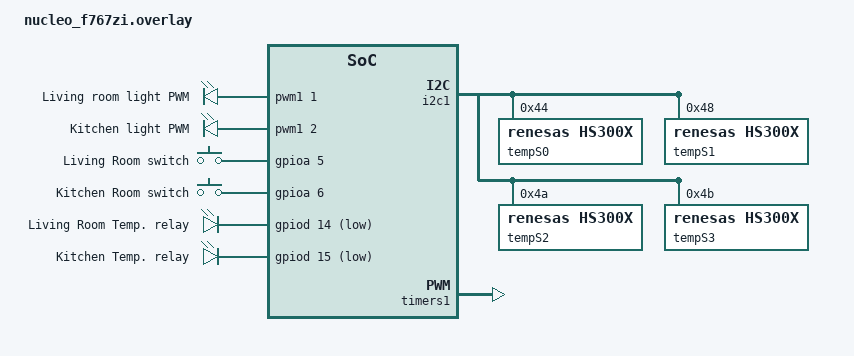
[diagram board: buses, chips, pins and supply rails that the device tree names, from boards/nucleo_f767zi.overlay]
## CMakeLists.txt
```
cmake_minimum_required(VERSION 3.20.0)
find_package(Zephyr REQUIRED HINTS $ENV{ZEPHYR_BASE})
project(WebSmartHome)

target_sources(app PRIVATE
    src/main.c
    src/Room.c
    src/Web.c
)

zephyr_linker_sources(SECTIONS sections-rom.ld)
zephyr_linker_section(
    NAME http_resource_desc_test_http_service
    KVMA RAM_REGION GROUP RODATA_REGION
)

# Define where the generated files will go
set(gen_dir ${ZEPHYR_BINARY_DIR}/include/generated/)

# Generate the gzipped header file
generate_inc_file_for_target(app
    src/static_web_resources/index.html
    ${gen_dir}/index.html.gz.inc
    --gzip
)

# Tell the compiler where to find the generated file
target_include_directories(app PRIVATE
    ${CMAKE_CURRENT_SOURCE_DIR}/include
    ${gen_dir}
)
```

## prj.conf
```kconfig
CONFIG_GPIO=y
CONFIG_PWM=y
CONFIG_PWM_STM32=y
CONFIG_PRINTK=y
CONFIG_HEAP_MEM_POOL_SIZE=4096
CONFIG_LED=y
CONFIG_SENSOR_ASYNC_API=y
CONFIG_SENSOR=y

CONFIG_SYS_HEAP_RUNTIME_STATS=y


CONFIG_MAIN_STACK_SIZE=3072
CONFIG_SYSTEM_WORKQUEUE_STACK_SIZE=2048
CONFIG_SHELL=y
CONFIG_LOG=y
CONFIG_ENTROPY_GENERATOR=y
CONFIG_TEST_RANDOM_GENERATOR=y
CONFIG_INIT_STACKS=y
CONFIG_POSIX_API=y
CONFIG_ZVFS_POLL_MAX=32

# Eventfd
CONFIG_EVENTFD=y
CONFIG_DHT=y

# Networking config
CONFIG_NETWORKING=y
CONFIG_NET_IPV4=y
CONFIG_NET_IPV6=y
CONFIG_NET_TCP=y
CONFIG_NET_SOCKETS=y
CONFIG_NET_CONNECTION_MANAGER=y
CONFIG_NET_SHELL=y
CONFIG_NET_STATISTICS=y
CONFIG_NET_STATISTICS_USER_API=y
CONFIG_NET_LOG=y

# JSON
CONFIG_JSON_LIBRARY=y

# HTTP parser
CONFIG_HTTP_PARSER_URL=y
CONFIG_HTTP_PARSER=y
CONFIG_HTTP_SERVER=y
CONFIG_HTTP_SERVER_WEBSOCKET=y

# Network buffers
CONFIG_NET_PKT_RX_COUNT=16
CONFIG_NET_PKT_TX_COUNT=16
CONFIG_NET_BUF_RX_COUNT=128
CONFIG_NET_BUF_TX_COUNT=128
CONFIG_NET_CONTEXT_NET_PKT_POOL=y

# IP address options
CONFIG_NET_IF_UNICAST_IPV6_ADDR_COUNT=3
CONFIG_NET_IF_MCAST_IPV6_ADDR_COUNT=4
CONFIG_NET_MAX_CONTEXTS=32
CONFIG_NET_MAX_CONN=32
CONFIG_HTTP_SERVER_MAX_CLIENTS=4
CONFIG_WEBSOCKET_MAX_CONTEXTS=4

# Network address config
CONFIG_NET_CONFIG_SETTINGS=y
CONFIG_NET_CONFIG_NEED_IPV4=y
CONFIG_NET_CONFIG_NEED_IPV6=y
CONFIG_NET_CONFIG_MY_IPV4_ADDR="192.168.1.50"
CONFIG_NET_CONFIG_PEER_IPV4_ADDR="192.168.1.50"
CONFIG_NET_CONFIG_MY_IPV4_GW="192.168.1.1"
CONFIG_NET_CONFIG_MY_IPV6_ADDR="2001:db8::1"
CONFIG_NET_CONFIG_PEER_IPV6_ADDR="2001:db8::2"

# Networking tweaks
# Required to handle large number of consecutive connections,
# e.g. when testing with ApacheBench.
CONFIG_NET_TCP_TIME_WAIT_DELAY=0

# Network debug config
CONFIG_NET_SOCKETS_LOG_LEVEL_DBG=n
CONFIG_NET_HTTP_LOG_LEVEL_DBG=n
CONFIG_NET_IPV6_LOG_LEVEL_DBG=n
CONFIG_NET_IPV6_ND_LOG_LEVEL_DBG=n

CONFIG_RTC=y
CONFIG_SNTP=y
CONFIG_REBOOT=y
```

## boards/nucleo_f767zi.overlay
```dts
/ {
    aliases {
        // OUTPUTS
        pwmlivingroom = &pwm_0;
        pwmkitchen = &pwm_1;
        temprelaylivingroom = &temp_relay_livingroom;
        temprelaykitchen = &temp_relay_kitchen;

        // INPUTS
        switchlivingroom = &switch_livingroom;
        switchkitchen = &switch_kitchen;

        dht0 = &tempS0;
        dht1 = &tempS1;
        dht2 = &tempS2;
        dht3 = &tempS3;

        dht11 = &my_dht11;
    };

    temp_sensor {
        my_dht11: dht11_c {
            compatible = "aosong,dht";
            status = "okay";
            dio-gpios = <&gpiof 13 (GPIO_PULL_UP | GPIO_ACTIVE_LOW)>;
        };
    };

    pwmleds {
        compatible = "pwm-leds";
        pwm_0: pwm_0 {
            pwms = <&pwm1 1 PWM_MSEC(20) PWM_POLARITY_NORMAL>;
            label = "Living room light PWM";
        };
        pwm_1: pwm_1 {
            pwms = <&pwm1 2 PWM_MSEC(20) PWM_POLARITY_NORMAL>;
            label = "Kitchen light PWM";
        };
    };

    buttons {
        compatible = "gpio-keys";
        switch_livingroom: btn_livingroom {
            label = "Living Room switch";
            gpios = <&gpioa 5 GPIO_ACTIVE_HIGH>;
        };
        switch_kitchen: btn_kitchen {
            label = "Kitchen Room switch";
            gpios = <&gpioa 6 GPIO_ACTIVE_HIGH>;
        };
    };

    relays {
        compatible = "gpio-leds"; // Changed to leds for output functionality
        temp_relay_livingroom: relay1 {
            label = "Living Room Temp. relay";
            gpios = <&gpiod 14 GPIO_ACTIVE_LOW>;
        };
        temp_relay_kitchen: relay2 {
            label = "Kitchen Temp. relay";
            gpios = <&gpiod 15 GPIO_ACTIVE_LOW>;
        };
    };
};

&i2c1 {
    status = "okay";
    
    tempS0: hs300x@44 {
        compatible = "renesas,hs300x";
        reg = <0x44>;
    };
    tempS1: hs300x@48 {
        compatible = "renesas,hs300x";
        reg = <0x48>;
    };
    tempS2: hs300x@4a {
        compatible = "renesas,hs300x";
        reg = <0x4a>;
    };
    tempS3: hs300x@4b {
        compatible = "renesas,hs300x";
        reg = <0x4b>;
    };
};

&timers1 {
    status = "okay";
    st,prescaler = <100>;
    pwm1: pwm {
        status = "okay";
        pinctrl-0 = <&pwm1_ch1_pe9 &pwm1_ch2_pe11>;
        pinctrl-names = "default";
    };
};

&pinctrl {
    pwm1_ch1_pe9: pwm1_ch1_pe9 {
        pinmux = <STM32_PINMUX('E', 9, AF1)>;
    };
    pwm1_ch2_pe11: pwm1_ch2_pe11 {
        pinmux = <STM32_PINMUX('E', 11, AF1)>;
    };
};
```

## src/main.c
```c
#include <zephyr/kernel.h>
#include <zephyr/device.h>
#include <zephyr/drivers/gpio.h>
#include <zephyr/drivers/pwm.h>
#include <zephyr/net/http/server.h>
#include <zephyr/net/http/service.h>
#include <zephyr/logging/log.h>
#include <stddef.h>
#include <string.h>

#include "Room.h"
#include "config.h"
#include "Schedule.h"

#include <zephyr/sys/sys_heap.h>

extern struct sys_heap _system_heap; // The default system heap

void check_memory(void) {
    struct sys_memory_stats stats;
    sys_heap_runtime_stats_get(&_system_heap, &stats);

    printk("Heap - Free: %zu | Allocated: %zu | Max: %zu\n", 
            stats.free_bytes, stats.allocated_bytes, stats.max_allocated_bytes);
}

LOG_MODULE_REGISTER(main, LOG_LEVEL_DBG);

void listening_switch_events_thread(void) {

    struct Room **rooms = get_all_rooms();

    while (1) {
        int percentage_ = 90;

        for (int i = 0; i < STRUCT_ROOM_COUNT; i++) {

            uint32_t new_state = gpio_pin_get_dt(rooms[i]->light_switch);

            // In case is a PWM event light needs special value so I calculated it here (90% of brightness for ON state)
            new_state = rooms[i]->light_pwm->period * percentage_ / 100;

            process_light_control(rooms[i], new_state);
        }

        k_msleep(SLEEP_TIME_MS);
    }
}

void listening_tmp_events_thread(void) {

    struct Room **rooms = get_all_rooms();

    while (1) {

        for (int i = 0; i < STRUCT_ROOM_COUNT; i++) {
            struct Room *room = rooms[i];

            uint32_t temp_scaled_value = 0;
            uint32_t hum_scaled_value = 0;
            if (room->temp_dht11 != NULL) {
                int res = read_temp_and_hum_dht11(room, &temp_scaled_value, &hum_scaled_value);
                k_sleep(K_SECONDS(2));
                if (res < 0) {
                    LOG_WRN("Unable to read DHT11 sensor for room %d", room->room_id);
                    // Even if temperature is not registered, setpoint may be changed
                    // so we need to process it
                    k_mutex_lock(&room->lock, K_FOREVER);
                    process_temperature_control(room);
                    k_mutex_unlock(&room->lock);
                    continue;
                }

            } else {
                read_temp_and_hum(room, &temp_scaled_value, &hum_scaled_value);
            }

            k_mutex_lock(&room->lock, K_FOREVER);
            if (temp_scaled_value != room->temp_sensor_value ||
                hum_scaled_value != room->hum_sensor_value) {
                k_mutex_unlock(&room->lock);
                register_new_event(room, temp_scaled_value, HEAT_EV, true);
                register_new_event(room, hum_scaled_value, HUM_EV, true);
                k_mutex_lock(&room->lock, K_FOREVER);
                room->temp_sensor_value = temp_scaled_value;
                room->hum_sensor_value = hum_scaled_value;
            }

            process_temperature_control(room);
            k_mutex_unlock(&room->lock);
        }

        k_sleep(K_SECONDS(10));
    }
}

void execut_events_thread(void) {
    while (1) {

        struct Event *registered_event = k_fifo_get(&events_fifo,
							   K_FOREVER);
        registered_event->action(
            registered_event->ctx,
            registered_event->value
        );
        k_free(registered_event);

        k_msleep(SLEEP_TIME_MS);
    }
}

void schedule_thread() {
    while(1) {
        struct Schedule *next = get_next_schedule();
        if (next == NULL) {
            k_sem_take(&new_data_sem, K_FOREVER); // Sleep until a new schedule is added
            continue;
        }
        uint32_t sleep_ms = calculate_time_for_schedule(next);
        LOG_DBG("Sleep sec more: %d", sleep_ms);
        // If delay is negative(), recalculate delay time
        if (sleep_ms < 0)
            continue;
        
        int ret = k_sem_take(&new_data_sem, K_SECONDS(sleep_ms));

        if (ret == -EAGAIN) {
            LOG_INF("Schedule, setting value to %d", next->value);
            execute_schedule(next);
            k_sleep(K_SECONDS(5)); // Sleep 5 sec to ensure function is not called again(~error from time)
            continue;
        }
        // If ret == 0: Just restart the loop to recalculate with new data
    }
}

int main(void)
{
    LOG_INF("Booting C++ Zephyr LightSwitch app");
    if (!room_device_init()) {
        LOG_ERR("Error while initializing the devices");
        return 0;
    }

    int ret = 0;
    ret = http_server_start();
    if (ret) {
        LOG_ERR("Server failed: %d", ret);
        return -1;
    }

    LOG_INF("Sync time");
    sync_rtc_with_network();

    LOG_INF("HTTP server started");
    while (1) {

        //check_memory();
        ret = gpio_pin_toggle_dt(get_led_by_id(ROOM_LED_POWER));
        if (ret < 0) {
            return -1;
        }
        // get_seconds_today_from_rtc();

        k_sleep(K_SECONDS(2));
    }

    return 0;
    
}

// --- Thread definitions ---
// K_THREAD_DEFINE(listening_id, STACKSIZE, listening_switch_events_thread, NULL, NULL, NULL,
//                 PRIORITY_7, 0, 0);
K_THREAD_DEFINE(execut_id, STACKSIZE, execut_events_thread, NULL, NULL, NULL,
                PRIORITY_7, 0, 0);
K_THREAD_DEFINE(listening_tmp_id, STACKSIZE, listening_tmp_events_thread, NULL, NULL, NULL,
                PRIORITY_7, 0, 0);
K_THREAD_DEFINE(executin_schedle_id, STACKSIZE, schedule_thread, NULL, NULL, NULL,
                PRIORITY_7, 0, 0);
```

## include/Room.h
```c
#ifndef ROOMS_H
#define ROOMS_H

#include <zephyr/kernel.h>
#include <zephyr/device.h>
#include <zephyr/drivers/gpio.h>
#include <zephyr/drivers/pwm.h>
#include <zephyr/logging/log.h>
#include <stddef.h>
#include <string.h>

#include <zephyr/drivers/sensor.h>
#include <zephyr/drivers/sensor_data_types.h>

#include "config.h"
#include "Schedule.h"

extern struct k_fifo events_fifo;
extern struct k_fifo web_events_fifo;

enum {
    ROOM_LED_POWER,
    ROOM_LED_INFO,
    ROOM_LED_ERROR,
    ROOM_LED_COUNT
};

enum {
    LIVINROOM_ROOM,
    KITCHEN_ROOM,
    STRUCT_ROOM_COUNT
};

enum VALUE_TYPE {
    SWITCH_EV,
    LIGHT_EV,
    HEAT_EV,
    HUM_EV,
    SETPOINT_EV,
    HEAT_RELAY_EV,
    SCHEDULE_ADDED_EV,
    COUNT_EV,
    NONE_EV
};

typedef void (*event_action_t)(void *ctx, uint32_t value);

struct Event {
    void *fifo_reserved;
    event_action_t action;
    void *ctx;
    uint32_t value;
};

struct WebEvent {
    void *fifo_reserved;
    int room_id;
    enum VALUE_TYPE value_type;
    union {
        uint32_t value;
        struct Schedule *sched;
    } data;
};

struct Room {
    void* fifo_reserved;

    const uint8_t room_id;
    const char* room_name;

/* Light */
    /* Switch can toggle pwm device or gpio*/
    const struct gpio_dt_spec* light_switch;   // INPUT
    const struct pwm_dt_spec* light_pwm;       // OUTPUT PWM
    const struct gpio_dt_spec* light_gpio;     // OUTPUT GPIO
    uint32_t light_gpio_value;                 // Current GPIO value

/* Heat */
    /* Sensor and RTIO IODEV for DHT22 */
    const struct device *const dht_devices;    // INPUT DHT device
    struct rtio_iodev *const dht_iodevs;       // RTIO IODEV for DHT
    const struct device *const temp_dht11;     // INPUT Temperature sensor device
    uint32_t temp_sensor_value;                // Last read temperature
    uint32_t hum_sensor_value;                 // Last read humidity
    /* Actuators */
    const struct gpio_dt_spec* heat_relay;     // OUTPUT HEAT relay GPIO
    bool heat_relay_state;                     // OUTPUT HEAT relay state
    uint32_t desired_temperature;              // Desired temperature

    uint32_t offset_desired_temperature;       // Offset for desired temperature
                                               // VALUES: 25  - 0.25 C
                                               //         50  - 0.50 C
                                               //         75  - 0.75 C
                                               //         100 - 1.00 C
    struct Schedule list_of_schedules[MAX_SCHEDULES_PER_ROOM];
    uint8_t no_sched;

    struct k_mutex lock;
};

void gpio_event_action(void *ctx, uint32_t value);

void pwm_event_action(void *ctx, uint32_t value);

bool room_device_init();

struct Room** get_all_rooms();

struct Room* get_room_by_id(int id);

const struct gpio_dt_spec* get_led_by_id(int id);

int register_new_event(struct Room *room, uint32_t new_value, enum VALUE_TYPE event_type, bool is_for_web_event);

int read_temp_and_hum(struct Room *room, uint32_t* temp_fit, uint32_t* hum_fit);

int read_temp_and_hum_dht11(struct Room *room, uint32_t* temp_scaled, uint32_t* hum_scaled);

bool register_new_web_event(uint32_t room_id, enum VALUE_TYPE value_type, void* value);

int register_new_event_complex(struct Room *room, void* new_data, enum VALUE_TYPE event_type, bool is_for_web_event);

void process_temperature_control(struct Room *room);

void process_light_control(struct Room *room, uint32_t new_light_gpio_value);

#endif
```

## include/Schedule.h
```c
#ifndef SCHEDULE_H
#define SCHEDULE_H

#include <time.h>
#include <zephyr/drivers/rtc.h>
#include <zephyr/net/sntp.h>
#include <zephyr/net/socket.h>

extern struct k_sem new_data_sem;

struct Room;

struct TemperatureSchedule {
    int time; // seconds from midnight
    int temperature; // scale 100/1
    struct Room *parent_room;
};

void sync_rtc_with_network();

uint32_t get_seconds_today_from_rtc(void);

// Schedule

struct TemperatureSchedule* get_next_schedule();

uint32_t calculate_time_for_schedule(struct TemperatureSchedule* schedule);

int addNewSchedule(struct TemperatureSchedule schedule);

int removeSchedule(struct TemperatureSchedule schedule);

uint32_t to_seconds_today(struct rtc_time time);

#endif
```

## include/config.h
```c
#ifndef CONFIG_H
#define CONFIG_H

#define MAX_ROOMS 5

#define MAX_WS_CLIENTS 5

#define SLEEP_TIME_MS 200
#define STACKSIZE 1024
#define PRIORITY_7 7

#define MAX_SCHEDULES_PER_ROOM 4

#define MAX_SCHEDULES 15

#define UTC_PLUS_2 (2 * 3600) // UTC+2

#define LOG_LEVEL LOG_LEVEL_DBG
/*
LOG_LEVEL_DBG - 4
LOG_LEVEL_ERR - 1
LOG_LEVEL_INF - 3
LOG_LEVEL_NONE - 0
LOG_LEVEL_WRN - 2
*/

#endif
```

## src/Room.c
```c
#include "Room.h"

LOG_MODULE_REGISTER(room, LOG_LEVEL_DBG);

K_FIFO_DEFINE(events_fifo);
K_FIFO_DEFINE(web_events_fifo);

#define LED0_NODE DT_ALIAS(led0)
#define LED1_NODE DT_ALIAS(led1)
#define LED2_NODE DT_ALIAS(led2)

static const struct gpio_dt_spec leds[ROOM_LED_COUNT] = {
    GPIO_DT_SPEC_GET(LED0_NODE, gpios),
    GPIO_DT_SPEC_GET(LED1_NODE, gpios),
    GPIO_DT_SPEC_GET(LED2_NODE, gpios),
};

#define DHT0_ALIAS DT_ALIAS(dht0)
#define DHT1_ALIAS DT_ALIAS(dht1)

static const struct device *const dht_devices[] = {
    DEVICE_DT_GET(DHT0_ALIAS),
    DEVICE_DT_GET(DHT1_ALIAS),
};

static const struct pwm_dt_spec lr_pwdled = PWM_DT_SPEC_GET(DT_ALIAS(pwmlivingroom));
static const struct pwm_dt_spec kr_pwdled = PWM_DT_SPEC_GET(DT_ALIAS(pwmkitchen));

static const struct gpio_dt_spec lr_gpio_switch = GPIO_DT_SPEC_GET_OR(DT_ALIAS(switchlivingroom), gpios, {0});
static const struct gpio_dt_spec kr_gpio_switch = GPIO_DT_SPEC_GET_OR(DT_ALIAS(switchkitchen), gpios, {0});

static const struct gpio_dt_spec lr_gpio_relay_temp = GPIO_DT_SPEC_GET_OR(DT_ALIAS(temprelaylivingroom), gpios, {0});
static const struct gpio_dt_spec kr_gpio_relay_temp = GPIO_DT_SPEC_GET_OR(DT_ALIAS(temprelaykitchen), gpios, {0});

/* RTIO devices for reading temperature/humidity channels */
SENSOR_DT_READ_IODEV(dht_iodev0,
                     DHT0_ALIAS,
                     { SENSOR_CHAN_AMBIENT_TEMP, 0 },
                     { SENSOR_CHAN_HUMIDITY, 0 });

SENSOR_DT_READ_IODEV(dht_iodev1,
                     DHT1_ALIAS,
                     { SENSOR_CHAN_AMBIENT_TEMP, 0 },
                     { SENSOR_CHAN_HUMIDITY, 0 });

RTIO_DEFINE(dht_ctx, 1, 1);

/* DHT11 temp sensor */\
#define DHT11_NODE DT_ALIAS(dht11)
static const struct device *const dht11_temp_sensor = DEVICE_DT_GET(DHT11_NODE);

#ifdef CONTROLL_BOILER
static const struct gpio_dt_spec* boiler_gpio = NULL;    // OUTPUT GPIO
static uint16_t boiler_gpio_value = 0;
#endif

static struct Room lr_room  = { 
    .room_id = LIVINROOM_ROOM,
    .room_name = "Living Room",
    .light_switch = &lr_gpio_switch, 
    .light_gpio = &leds[ROOM_LED_ERROR], 
    .light_pwm = NULL, 
    .light_gpio_value = 0,
    .dht_devices = dht_devices[0],
    .dht_iodevs = &dht_iodev0,
    .temp_sensor_value = 2200,
    .hum_sensor_value = 2200,
    .desired_temperature = 2200,
    .heat_relay = &lr_gpio_relay_temp,
    .heat_relay_state = false,
    .offset_desired_temperature = 50,
    .temp_dht11 = dht11_temp_sensor,
};
static struct Room kr_room = { 
    .room_id = KITCHEN_ROOM,
    .room_name = "Kitchen",
    .light_switch = &kr_gpio_switch, 
    .light_gpio = NULL, 
    .light_pwm = &kr_pwdled, 
    .light_gpio_value = 0,
    .dht_devices = dht_devices[1],
    .dht_iodevs = &dht_iodev1,
    .temp_sensor_value = 2200,
    .hum_sensor_value = 2200,
    .desired_temperature = 2200,
    .heat_relay = &kr_gpio_relay_temp,
    .heat_relay_state = false,
    .offset_desired_temperature = 50,
    .temp_dht11 = dht11_temp_sensor,
};

static struct Room *rooms[STRUCT_ROOM_COUNT] = { 
    &lr_room, 
    &kr_room 
};

bool room_device_init() {
    int ret = 0;

    /* Leds init */
    for (int i = 0; i < ROOM_LED_COUNT; i++) {
        if (!gpio_is_ready_dt(&leds[i])) return false;
        gpio_pin_configure_dt(&leds[i], GPIO_OUTPUT_ACTIVE);
    }

    /* PWM signal for leds init */
    static const struct pwm_dt_spec pwd_lights[] = { lr_pwdled, kr_pwdled };
    for (size_t i = 0; i < ARRAY_SIZE(pwd_lights); i++) {

        if (!pwm_is_ready_dt(&pwd_lights[i])){
            LOG_ERR("PWM device not ready");
            return false;
        }
    }

    /* INPUT GPIO init */
    const struct gpio_dt_spec *input_gpio[] = { &lr_gpio_switch, &kr_gpio_switch};
    int number_of_switches = sizeof(input_gpio) / sizeof(struct gpio_dt_spec*);
    for (int i = 0; i < number_of_switches; i++) {
        if (!gpio_is_ready_dt(input_gpio[i])) return 0;
        ret = gpio_pin_configure_dt(input_gpio[i], GPIO_INPUT | input_gpio[i]->dt_flags);
        if (ret != 0) {
            LOG_ERR("Configuring INPUT GPIO pin failed: %d", ret);
            return false;
        }
    }

    /* OUTPUT GPIO init */
    const struct gpio_dt_spec *output_gpio[] = { &lr_gpio_relay_temp, &kr_gpio_relay_temp};
    int number_of_out = sizeof(output_gpio) / sizeof(struct gpio_dt_spec*);
    for (int i = 0; i < number_of_out; i++) {
        if (!gpio_is_ready_dt(output_gpio[i])) return 0;
        ret = gpio_pin_configure_dt(output_gpio[i], GPIO_OUTPUT_ACTIVE);
        if (ret != 0) {
            LOG_ERR("Configuring OUTPUT GPIO pin failed: %d", ret);
            return false;
        }
    }

    /* Temp sensor init */
    for (size_t i = 0; i < ARRAY_SIZE(dht_devices); i++) {
		if (!device_is_ready(dht_devices[i])) {
			printk("sensor: device %s not ready.\n", dht_devices[i]->name);
			return 0;
		}
	}

    if (!device_is_ready(dht11_temp_sensor)) {
        printk("Sensor dht11 device not ready!\n");
        return false;
    }

    k_mutex_init(&lr_room.lock);
    k_mutex_init(&kr_room.lock);

	LOG_INF("Initialization and configuration switch done.");
    return true;
}
 
void gpio_event_action(void *ctx, uint32_t value)
{
    const struct gpio_dt_spec *gpio = ctx;
    gpio_pin_set(gpio->port, gpio->pin, value);
}

void pwm_event_action(void *ctx, uint32_t value)
{
    const struct pwm_dt_spec *pwm = ctx;
    pwm_set_dt(pwm, pwm->period, value);
}

struct Room** get_all_rooms() {
    return rooms;
}

struct Room* get_room_by_id(int id) {
    return rooms[id];
}

const struct gpio_dt_spec* get_led_by_id(int id) {
    return &leds[id];
}

int register_new_event_raw(struct Room *room, void* data, enum VALUE_TYPE event_type, bool is_for_web_event) {

    struct Event *new_event = k_malloc(sizeof(struct Event));
    if (!new_event) {
        LOG_ERR("Unable to allocate memory for event");
        return -1;
    }
    // new_value is always an int if it is used
    uint32_t new_value = *(uint32_t*)data;

    LOG_DBG("Registering event for room %d, type %d, value %d",
            room->room_id,
            event_type,
            new_value);
    bool isLocalEventRegistered = true;
    // Only light events and heat relay action are supported for now locally
    if (event_type == LIGHT_EV) {
        if (room->light_gpio != NULL) {
            new_event->action = gpio_event_action;
            new_event->ctx = (void *)room->light_gpio;
            new_event->value = new_value ? 1 : 0;
        } else if (room->light_pwm != NULL) {
            new_event->action = pwm_event_action;
            new_event->ctx = (void *)room->light_pwm;
            new_event->value = new_value;
        } else {
            LOG_ERR("No light actuator defined for room %d", room->room_id);
            k_free(new_event);
            return -1;
        }
        k_fifo_put(&events_fifo, new_event);

    } else if (event_type == HEAT_RELAY_EV) {
        new_event->action = gpio_event_action;
        new_event->ctx = (void *)room->heat_relay;
        new_event->value = new_value ? 1 : 0;
        k_fifo_put(&events_fifo, new_event);
    } else {
        LOG_WRN ("Unsupported event type %d for local execution", event_type);
        k_free(new_event);
        isLocalEventRegistered = false;
    }

    if (is_for_web_event) {
        LOG_DBG("Registering web event for room %d, type %d",
                room->room_id,
                event_type);
        bool res = register_new_web_event(room->room_id, event_type, data);
        if (!res) {
            LOG_ERR("Unable to register web event");
            return 2;
        }
    }
    
    return isLocalEventRegistered ? 0 : 1;
}

int register_new_event(struct Room *room, uint32_t new_value, enum VALUE_TYPE event_type, bool is_for_web_event) {
    return register_new_event_raw(room, &new_value, event_type, is_for_web_event);
}

int register_new_event_complex(struct Room *room, void* new_data, enum VALUE_TYPE event_type, bool is_for_web_event) {
    return register_new_event_raw(room, new_data, event_type, is_for_web_event);
}

bool register_new_web_event(uint32_t room_id, enum VALUE_TYPE value_type, void *data) {
    struct WebEvent *new_web_event = k_malloc(sizeof(struct WebEvent));
    if (!new_web_event) {
        LOG_ERR("Unable to allocate memory for web event");
        return false;
    }
    new_web_event->room_id = room_id;
    new_web_event->value_type = value_type;

    if (value_type == SCHEDULE_ADDED_EV) {
        struct Schedule *sched = (struct Schedule *)data; 
        new_web_event->data.sched = sched;
    } else {
        new_web_event->data.value = *(uint32_t*)data;
    }

    k_fifo_put(&web_events_fifo, new_web_event);
    return true;
}

// For testing purposes only, simulating temperature and humidity readings
static int x = 0;

int read_temp_and_hum_dht11(struct Room *room, uint32_t* temp_scaled, uint32_t* hum_scaled) {
    if (room->temp_dht11 == NULL) {
        LOG_ERR("No DHT11 sensor defined for room %d", room->room_id);
        return -1;
    }
    int rc = sensor_sample_fetch(room->temp_dht11);

    if (rc != 0) {
        LOG_DBG("Sensor fetch failed: %d\n", rc);
        return rc;
    }

    struct sensor_value temperature;
    struct sensor_value humidity;

    rc = sensor_channel_get(room->temp_dht11, SENSOR_CHAN_AMBIENT_TEMP,
                &temperature);
    if (rc == 0) {
        rc = sensor_channel_get(room->temp_dht11, SENSOR_CHAN_HUMIDITY,
                    &humidity);
    }
    if (rc != 0) {
        LOG_DBG("get failed: %d\n", rc);
        return rc;
    }
    *temp_scaled = (uint32_t)(sensor_value_to_double(&temperature) * 100);
    *hum_scaled = (uint32_t)(sensor_value_to_double(&humidity));
    return 0;
}

int read_temp_and_hum(struct Room *room, uint32_t* temp_scaled, uint32_t* hum_scaled) {
    //x = x + 50;
    *temp_scaled = 2000 + x ;
    *hum_scaled = 2000  + x - 100;
    return 0;

    int rc;
    uint8_t buf[128];
    struct device *dev = (struct device *) room->dht_devices;

    rc = sensor_read(room->dht_iodevs, &dht_ctx, buf, sizeof(buf));
    if (rc != 0) return rc;

    const struct sensor_decoder_api *decoder;
    sensor_get_decoder(dev, &decoder);

    // Decode Temp
    uint32_t fit = 0;
    struct sensor_q31_data q_data = {0};
    
    // Process Temperature
    decoder->decode(buf, (struct sensor_chan_spec){SENSOR_CHAN_AMBIENT_TEMP, 0}, &fit, 1, &q_data);
    if (fit > 0) {
        q31_t q = q_data.readings[0].temperature;
        int32_t whole = q >> q_data.shift;
        int32_t frac  = ((q & ((1LL << q_data.shift) - 1)) * 100) >> q_data.shift;
        *temp_scaled = (whole * 100) + frac;
    }

    // Process Humidity
    decoder->decode(buf, (struct sensor_chan_spec){SENSOR_CHAN_HUMIDITY, 0}, &fit, 1, &q_data);
    if (fit > 0) {
        q31_t q = q_data.readings[0].humidity;
        int32_t whole = q >> q_data.shift;
        int32_t frac  = ((q & ((1LL << q_data.shift) - 1)) * 100) >> q_data.shift;
        *hum_scaled = (whole * 100) + frac;
    }

    return 0;
}

static void turn_on_off_temperature(struct Room *room, bool turn_on) {
    if (turn_on && room->heat_relay_state == false) {
        register_new_event(room, 1, HEAT_RELAY_EV, true);
        room->heat_relay_state = true;
        boiler_gpio_value++;
    } else if (!turn_on && room->heat_relay_state == true) {
        register_new_event(room, 0, HEAT_RELAY_EV, true);
        room->heat_relay_state = false;
        boiler_gpio_value--;
    }

#ifdef CONTROLL_BOILER
    // If at least, one room use heat, we turn on general boiler
    if (boiler_gpio_value > 0 && boiler_gpio_value - 1 > 0) {
        gpio_pin_set(boiler_gpio->port, boiler_gpio->pin, 1);
    } else  if (boiler_gpio_value < 0){
        gpio_pin_set(boiler_gpio->port, boiler_gpio->pin, 0);
    }
#endif
}

void process_temperature_control(struct Room *room) {
    if (room->temp_sensor_value < room->desired_temperature - room->offset_desired_temperature 
        && room->heat_relay_state == false) {
        turn_on_off_temperature(room, true);
    } else if (room->temp_sensor_value > room->desired_temperature + room->offset_desired_temperature 
        && room->heat_relay_state == true) {
        turn_on_off_temperature(room, false);
    }
}

static void turn_on_off_light(struct Room *room, uint32_t new_light_gpio_value) {
    register_new_event(room, new_light_gpio_value, LIGHT_EV, true);
    room->light_gpio_value = new_light_gpio_value;
}

void process_light_control(struct Room *room, uint32_t new_light_gpio_value) {
    if (new_light_gpio_value != room->light_gpio_value) {
        turn_on_off_light(room, new_light_gpio_value);
    }

}
```

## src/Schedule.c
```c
#include "Schedule.h"

#include "Room.h"

LOG_MODULE_REGISTER(schedule, LOG_LEVEL_DBG);

// Getting Time and setting it RTC
static const struct device *rtc_dev = DEVICE_DT_GET(DT_NODELABEL(rtc));

K_SEM_DEFINE(new_data_sem, 0, 1);

static uint64_t get_net_time(void) {
    struct sntp_time sntp_time;
    int rv;

    const char *server = "216.239.35.0"; // time.google.com

    LOG_INF("Sending SNTP request...");
    
    rv = sntp_simple(server, SYS_FOREVER_MS, &sntp_time);
    if (rv < 0) {
        LOG_ERR("SNTP lookup failed: %d", rv);
        return 0;
    }

    LOG_INF("Seconds since 1 Jan 1970: %llu", sntp_time.seconds);
    return sntp_time.seconds;
}

void sync_rtc_with_network() {

    if (!device_is_ready(rtc_dev)) {
        LOG_ERR("RTC device not ready\n");
        return;
    }
    uint64_t sntp_seconds = get_net_time();
	time_t local_time_val = (time_t)sntp_seconds + UTC_PLUS_2;
    struct tm temp_tm;
    gmtime_r(&local_time_val, &temp_tm);

    // Create the Zephyr-specific RTC structure
    struct rtc_time zephyr_rtc_time;

    // Map fields from struct tm to struct rtc_time
    zephyr_rtc_time.tm_sec  = temp_tm.tm_sec;
    zephyr_rtc_time.tm_min  = temp_tm.tm_min;
    zephyr_rtc_time.tm_hour = temp_tm.tm_hour;
    zephyr_rtc_time.tm_mday = temp_tm.tm_mday;
    zephyr_rtc_time.tm_mon  = temp_tm.tm_mon;
    // IMPORTANT: Zephyr RTC expects the real year, not "years since 1900"
    zephyr_rtc_time.tm_year = temp_tm.tm_year + 1900;
    
    // Optional fields (set to 0 or -1 if not used)
    zephyr_rtc_time.tm_wday = temp_tm.tm_wday;
    zephyr_rtc_time.tm_yday = temp_tm.tm_yday;
    zephyr_rtc_time.tm_isdst = -1; 
    zephyr_rtc_time.tm_nsec = 0;

    // Now call the function with the correct pointer type
    int ret = rtc_set_time(rtc_dev, &zephyr_rtc_time);
    
    if (ret < 0) {
        LOG_ERR("Failed to set RTC: %d", ret);
        return;
    }
    LOG_INF("Time is %d:%d", temp_tm.tm_hour, temp_tm.tm_min);
}

uint32_t get_seconds_today_from_rtc(void) {
    struct rtc_time now;
    
    // Read current time from hardware
    rtc_get_time(rtc_dev, &now);

    // Calculate seconds since midnight
    LOG_INF("Time is %d:%d,    %d", now.tm_hour, now.tm_min, to_seconds_today(now));
    return to_seconds_today(now);
}

uint32_t to_seconds_today(struct rtc_time time) {
    return (time.tm_hour * 3600) + (time.tm_min * 60) + time.tm_sec;
}

// Schedule

struct Schedule* get_next_schedule() {
    int current_time = get_seconds_today_from_rtc();

    struct Schedule *best_today = NULL;
    struct Schedule *earliest_tomorrow = NULL;

    for (int id = 0; id < STRUCT_ROOM_COUNT; id++) {
        struct Room *room = get_room_by_id(id);

        k_mutex_lock(&room->lock, K_FOREVER);
        if (room->no_sched == 0) {
            k_mutex_unlock(&room->lock);
            continue;
        }

        for (int i = 0; i < room->no_sched; i++) {
            struct Schedule *current_s = &room->list_of_schedules[i];

            // Track the earliest overall (in case we need to roll over to tomorrow)
            if (earliest_tomorrow == NULL || current_s->time < earliest_tomorrow->time) {
                earliest_tomorrow = current_s;
            }

            // Track the next one for today
            if (current_s->time > current_time) {
                if (best_today == NULL || current_s->time < best_today->time) {
                    best_today = current_s;
                }
            }
        }
        k_mutex_unlock(&room->lock);
    }

    return (best_today != NULL) ? best_today : earliest_tomorrow;
}

uint32_t calculate_time_for_schedule(struct Schedule* schedule) {
    
    int current_time = get_seconds_today_from_rtc();
    int diff = schedule->time - current_time;
    LOG_DBG("%d - %d = %d", schedule->time, current_time, diff);

    if (diff <= 0) diff += 86400; // Wrap around logic

    return (uint32_t)diff;
}

int addNewSchedule(struct Schedule schedule) {
    struct Room *room = schedule.parent_room;

    k_mutex_lock(&room->lock, K_FOREVER);
    if (room->no_sched >= MAX_SCHEDULES_PER_ROOM) {
        k_mutex_unlock(&room->lock);
        return -ENOSPC;
    }
    room->list_of_schedules[room->no_sched] = schedule;
    room->no_sched++;
    LOG_DBG("Schedule in room %d value is %d", room->room_id, room->list_of_schedules[room->no_sched - 1].value);
    LOG_DBG("Adding new schedule and notifing(nr of sched: %d), time %d", room->no_sched, room->list_of_schedules[room->no_sched - 1].time);

    register_new_web_event(room->room_id, SCHEDULE_ADDED_EV, &room->list_of_schedules[room->no_sched - 1]);
    k_mutex_unlock(&room->lock);

    k_sem_give(&new_data_sem);

    return 0;
}

int removeSchedule(struct Schedule schedule) {
    struct Room *room = schedule.parent_room;

    k_mutex_lock(&room->lock, K_FOREVER);

    if (room->no_sched == 0) {
        k_mutex_unlock(&room->lock);
        return 0;
    }

    struct Schedule *list = room->list_of_schedules;
    int index = -1;

    for (int i = 0; i < room->no_sched; i++) {
        if (list[i].time == schedule.time &&
            list[i].value == schedule.value) {
            index = i;
            break;
        }
    }

    if (index == -1) {
        k_mutex_unlock(&room->lock);
        return -ENOENT;
    }

    register_new_web_event(room->room_id, SCHEDULE_ADDED_EV, &list[index]);

    // Shift remaining schedules down
    for (int j = index; j < room->no_sched - 1; j++) {
        list[j] = list[j + 1];
    }

    room->no_sched--;
    k_mutex_unlock(&room->lock);

    k_sem_give(&new_data_sem);

    return 0;
}

void execute_schedule(struct Schedule *schedule) {
    switch (schedule->type)
    {
    case SETPOINT_SCH:
        register_new_event(schedule->parent_room, schedule->value, SETPOINT_EV, true);
        k_mutex_lock(&schedule->parent_room->lock, K_FOREVER);
        schedule->parent_room->desired_temperature = schedule->value;
        k_mutex_unlock(&schedule->parent_room->lock);
        break;
    case LIGHT_SCH:
        k_mutex_lock(&schedule->parent_room->lock, K_FOREVER);
        process_light_control(schedule->parent_room, schedule->value);
        k_mutex_unlock(&schedule->parent_room->lock);
        break;
    default:
        break;
    }
}
```
